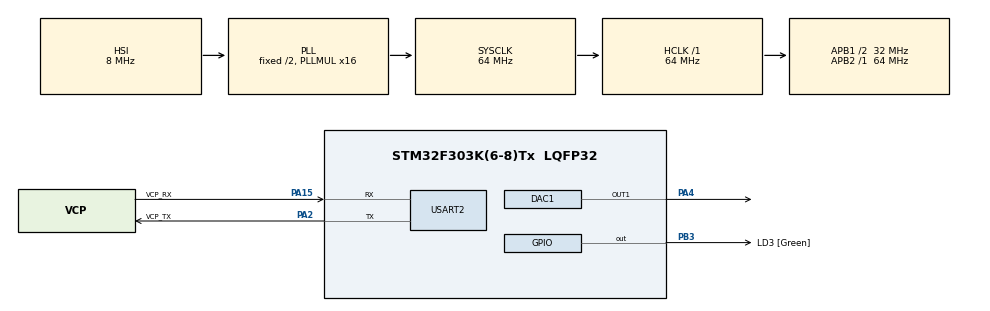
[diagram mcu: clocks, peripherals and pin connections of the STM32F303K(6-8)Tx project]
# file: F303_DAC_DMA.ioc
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DAC1.DAC_Trigger=DAC_TRIGGER_T6_TRGO
Dma.DAC1_CH1.0.Direction=DMA_MEMORY_TO_PERIPH
Dma.DAC1_CH1.0.Instance=DMA1_Channel3
Dma.DAC1_CH1.0.MemDataAlignment=DMA_MDATAALIGN_HALFWORD
Dma.DAC1_CH1.0.MemInc=DMA_MINC_ENABLE
Dma.DAC1_CH1.0.Mode=DMA_CIRCULAR
Dma.DAC1_CH1.0.PeriphDataAlignment=DMA_PDATAALIGN_HALFWORD
Dma.DAC1_CH1.0.PeriphInc=DMA_PINC_DISABLE
Dma.DAC1_CH1.0.Priority=DMA_PRIORITY_LOW
Dma.Request0=DAC1_CH1
Mcu.Family=STM32F3
Mcu.Name=STM32F303K(6-8)Tx
Mcu.Package=LQFP32
NVIC.DMA1_Channel3_IRQn=true\:0\:0\:false\:false\:true\:false\:true
NVIC.PriorityGroup=NVIC_PRIORITYGROUP_4
PA13.GPIO_Label=SWDIO
PA13.Mode=Serial_Wire
PA13.Signal=SYS_JTMS-SWDIO
PA14.GPIO_Label=SWCLK
PA14.Mode=Serial_Wire
PA14.Signal=SYS_JTCK-SWCLK
PA15.GPIO_Label=VCP_RX
PA15.Mode=Asynchronous
PA15.Signal=USART2_RX
PA2.GPIO_Label=VCP_TX
PA2.Mode=Asynchronous
PA2.Signal=USART2_TX
PA4.Signal=COMP_DAC11_group
PB3.GPIO_Label=LD3 [Green]
PB3.Signal=GPIO_Output
PF0\ /\ OSC_IN.GPIO_Label=MCO
PF0\ /\ OSC_IN.Mode=HSE-External-Clock-Source
PF0\ /\ OSC_IN.Signal=RCC_OSC_IN
ProjectManager.HeapSize=0x200
ProjectManager.StackSize=0x400
ProjectManager.TargetToolchain=STM32CubeIDE
RCC.AHBFreq_Value=64000000
RCC.APB1CLKDivider=RCC_HCLK_DIV2
RCC.APB1Freq_Value=32000000
RCC.APB1TimFreq_Value=64000000
RCC.APB2Freq_Value=64000000
RCC.APB2TimFreq_Value=64000000
RCC.CortexFreq_Value=64000000
RCC.HCLKFreq_Value=64000000
RCC.HSE_VALUE=8000000
RCC.HSI_VALUE=8000000
RCC.PLLMUL=RCC_PLL_MUL16
RCC.SYSCLKFreq_VALUE=64000000
RCC.SYSCLKSourceVirtual=RCC_SYSCLKSOURCE_PLLCLK
SH.COMP_DAC11_group.0=DAC1_OUT1,DAC_OUT1
TIM6.Period=9
TIM6.Prescaler=3
TIM6.TIM_MasterOutputTrigger=TIM_TRGO_UPDATE
USART2.VirtualMode-Asynchronous=VM_ASYNC
VP_TIM6_VS_ClockSourceINT.Mode=Enable_Timer
board=NUCLEO-F303K8

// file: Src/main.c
/* USER CODE BEGIN Header */
/**
  ******************************************************************************
  * @file           : main.c
  * @brief          : Main program body
  ******************************************************************************
  * @attention
  *
  * <h2><center>&copy; Copyright (c) 2019 STMicroelectronics.
  * All rights reserved.</center></h2>
  *
  * This software component is licensed by ST under BSD 3-Clause license,
  * the "License"; You may not use this file except in compliance with the
  * License. You may obtain a copy of the License at:
  *                        opensource.org/licenses/BSD-3-Clause
  *
  ******************************************************************************
  */
/* USER CODE END Header */

#include "main.h"

DAC_HandleTypeDef hdac1;
DMA_HandleTypeDef hdma_dac1_ch1;

TIM_HandleTypeDef htim6;

UART_HandleTypeDef huart2;

/* USER CODE BEGIN PV */
const uint16_t sine_wave_array[32] = {2047, 1648, 1264, 910, 600,  345,
                   156, 39,  0,  39,  156,  345,
                   600, 910, 1264, 1648, 2048, 2447,
                   2831, 3185, 3495, 3750, 3939, 4056,
                   4095, 4056, 3939, 3750, 3495, 3185,
                   2831, 2447};
const uint16_t triangle_wave_array[40] = {
		0, 100, 200, 300, 400, 500, 600, 700, 800, 900,
		1000, 1100, 1200, 1300, 1400, 1500, 1600, 1700, 1800, 1900,
		2000, 2100, 2200, 2300, 2400, 2500, 2600, 2700, 2800, 2900,
		3000, 3100, 3200, 3300, 3400, 3500, 3600, 3700, 3800, 3900
};
/* USER CODE END PV */

void SystemClock_Config(void);
static void MX_GPIO_Init(void);
static void MX_DMA_Init(void);
static void MX_USART2_UART_Init(void);
static void MX_DAC1_Init(void);
static void MX_TIM6_Init(void);
/* USER CODE BEGIN PFP */
void set_timer_DAC(uint16_t PS, uint16_t T);
void play_note(uint16_t T);
/* USER CODE END PFP */

int main(void)
{

  /* MCU Configuration--------------------------------------------------------*/

  /* Reset of all peripherals, Initializes the Flash interface and the Systick. */
  HAL_Init();

  /* Configure the system clock */
  SystemClock_Config();

  /* Initialize all configured peripherals */
  MX_GPIO_Init();
  MX_DMA_Init();
  MX_USART2_UART_Init();
  MX_DAC1_Init();
  MX_TIM6_Init();
  /* USER CODE BEGIN 2 */
  HAL_TIM_Base_Start(&htim6);
//  HAL_DAC_Start(&hdac1,DAC_CHANNEL_1);
//  HAL_DAC_Start_DMA(&hdac1, DAC_CHANNEL_1, (uint32_t*)sine_wave_array, 32, DAC_ALIGN_12B_R);
  play_note(20);
  HAL_DAC_Start_DMA(&hdac1, DAC_CHANNEL_1, (uint32_t*)triangle_wave_array, 40, DAC_ALIGN_12B_R);

  /* USER CODE END 2 */

  /* Infinite loop */
  while (1)
  {

  }
}

void SystemClock_Config(void)
{
  RCC_OscInitTypeDef RCC_OscInitStruct = {0};
  RCC_ClkInitTypeDef RCC_ClkInitStruct = {0};

  /** Initializes the CPU, AHB and APB busses clocks
  */
  RCC_OscInitStruct.OscillatorType = RCC_OSCILLATORTYPE_HSI;
  RCC_OscInitStruct.HSIState = RCC_HSI_ON;
  RCC_OscInitStruct.HSICalibrationValue = RCC_HSICALIBRATION_DEFAULT;
  RCC_OscInitStruct.PLL.PLLState = RCC_PLL_ON;
  RCC_OscInitStruct.PLL.PLLSource = RCC_PLLSOURCE_HSI;
  RCC_OscInitStruct.PLL.PLLMUL = RCC_PLL_MUL16;
  if (HAL_RCC_OscConfig(&RCC_OscInitStruct) != HAL_OK)
  {
    Error_Handler();
  }
  /** Initializes the CPU, AHB and APB busses clocks
  */
  RCC_ClkInitStruct.ClockType = RCC_CLOCKTYPE_HCLK|RCC_CLOCKTYPE_SYSCLK
                              |RCC_CLOCKTYPE_PCLK1|RCC_CLOCKTYPE_PCLK2;
  RCC_ClkInitStruct.SYSCLKSource = RCC_SYSCLKSOURCE_PLLCLK;
  RCC_ClkInitStruct.AHBCLKDivider = RCC_SYSCLK_DIV1;
  RCC_ClkInitStruct.APB1CLKDivider = RCC_HCLK_DIV2;
  RCC_ClkInitStruct.APB2CLKDivider = RCC_HCLK_DIV1;

  if (HAL_RCC_ClockConfig(&RCC_ClkInitStruct, FLASH_LATENCY_2) != HAL_OK)
  {
    Error_Handler();
  }
}

static void MX_DAC1_Init(void)
{

  DAC_ChannelConfTypeDef sConfig = {0};

  /** DAC Initialization
  */
  hdac1.Instance = DAC1;
  if (HAL_DAC_Init(&hdac1) != HAL_OK)
  {
    Error_Handler();
  }
  /** DAC channel OUT1 config
  */
  sConfig.DAC_Trigger = DAC_TRIGGER_T6_TRGO;
  sConfig.DAC_OutputBuffer = DAC_OUTPUTBUFFER_ENABLE;
  if (HAL_DAC_ConfigChannel(&hdac1, &sConfig, DAC_CHANNEL_1) != HAL_OK)
  {
    Error_Handler();
  }

}

static void MX_TIM6_Init(void)
{

  TIM_MasterConfigTypeDef sMasterConfig = {0};

  htim6.Instance = TIM6;
  htim6.Init.Prescaler = 3;
  htim6.Init.CounterMode = TIM_COUNTERMODE_UP;
  htim6.Init.Period = 9;
  htim6.Init.AutoReloadPreload = TIM_AUTORELOAD_PRELOAD_DISABLE;
  if (HAL_TIM_Base_Init(&htim6) != HAL_OK)
  {
    Error_Handler();
  }
  sMasterConfig.MasterOutputTrigger = TIM_TRGO_UPDATE;
  sMasterConfig.MasterSlaveMode = TIM_MASTERSLAVEMODE_DISABLE;
  if (HAL_TIMEx_MasterConfigSynchronization(&htim6, &sMasterConfig) != HAL_OK)
  {
    Error_Handler();
  }

}

static void MX_USART2_UART_Init(void)
{

  huart2.Instance = USART2;
  huart2.Init.BaudRate = 38400;
  huart2.Init.WordLength = UART_WORDLENGTH_8B;
  huart2.Init.StopBits = UART_STOPBITS_1;
  huart2.Init.Parity = UART_PARITY_NONE;
  huart2.Init.Mode = UART_MODE_TX_RX;
  huart2.Init.HwFlowCtl = UART_HWCONTROL_NONE;
  huart2.Init.OverSampling = UART_OVERSAMPLING_16;
  huart2.Init.OneBitSampling = UART_ONE_BIT_SAMPLE_DISABLE;
  huart2.AdvancedInit.AdvFeatureInit = UART_ADVFEATURE_NO_INIT;
  if (HAL_UART_Init(&huart2) != HAL_OK)
  {
    Error_Handler();
  }

}

static void MX_DMA_Init(void)
{
  /* DMA controller clock enable */
  __HAL_RCC_DMA1_CLK_ENABLE();

  /* DMA interrupt init */
  /* DMA1_Channel3_IRQn interrupt configuration */
  HAL_NVIC_SetPriority(DMA1_Channel3_IRQn, 0, 0);
  HAL_NVIC_EnableIRQ(DMA1_Channel3_IRQn);

}

static void MX_GPIO_Init(void)
{
  GPIO_InitTypeDef GPIO_InitStruct = {0};

  /* GPIO Ports Clock Enable */
  __HAL_RCC_GPIOF_CLK_ENABLE();
  __HAL_RCC_GPIOA_CLK_ENABLE();
  __HAL_RCC_GPIOB_CLK_ENABLE();

  /*Configure GPIO pin Output Level */
  HAL_GPIO_WritePin(LD3_GPIO_Port, LD3_Pin, GPIO_PIN_RESET);

  /*Configure GPIO pin : LD3_Pin */
  GPIO_InitStruct.Pin = LD3_Pin;
  GPIO_InitStruct.Mode = GPIO_MODE_OUTPUT_PP;
  GPIO_InitStruct.Pull = GPIO_NOPULL;
  GPIO_InitStruct.Speed = GPIO_SPEED_FREQ_LOW;
  HAL_GPIO_Init(LD3_GPIO_Port, &GPIO_InitStruct);

}

/* USER CODE BEGIN 4 */
void set_timer_DAC(uint16_t PS, uint16_t T){
//	__HAL_TIM_SET_PRESCALER(&htim6, PS-1);
	__HAL_TIM_SET_AUTORELOAD(&htim6, T-1);   // Do 7 (nota mas aguda)
}
void play_note(uint16_t T) {
//	  HAL_DAC_Stop(&hdac1,DAC_CHANNEL_1);
//	  HAL_DAC_Stop_DMA(&hdac1, DAC_CHANNEL_1);
	  set_timer_DAC(64, T);
//	  HAL_DAC_Start(&hdac1,DAC_CHANNEL_1);
//	  HAL_DAC_Start_DMA(&hdac1, DAC_CHANNEL_1, (uint32_t*)triangle_wave_array, 40, DAC_ALIGN_12B_R);
}
/* USER CODE END 4 */

void Error_Handler(void)
{
}

/************************ (C) COPYRIGHT STMicroelectronics *****END OF FILE****/
